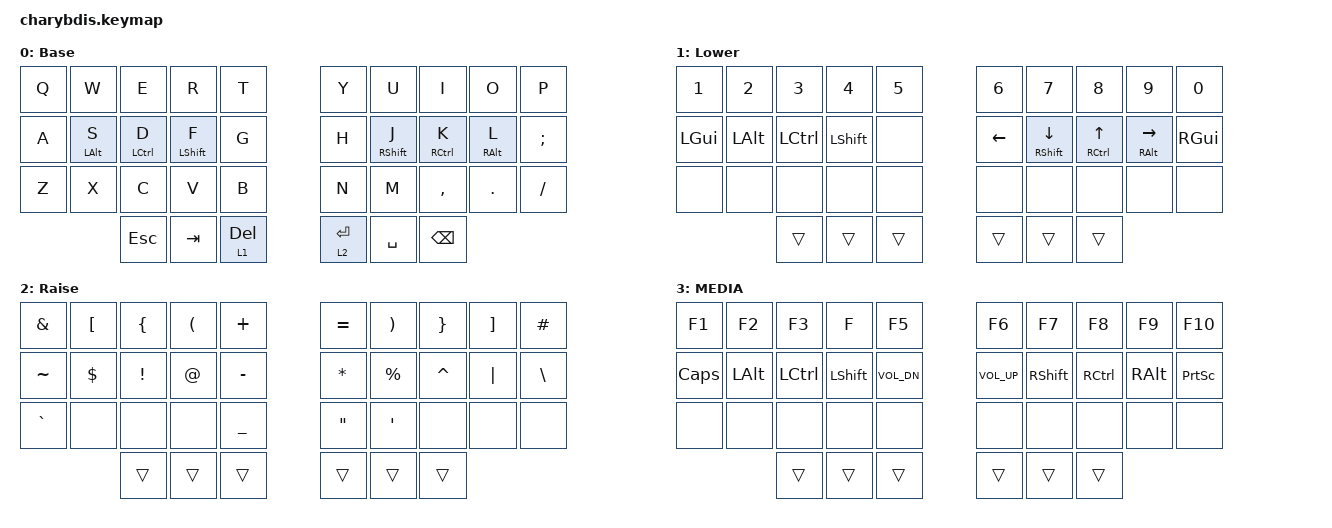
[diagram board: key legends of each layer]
#include <behaviors.dtsi>
#include <dt-bindings/zmk/keys.h>
#include <dt-bindings/zmk/bt.h>
#include <dt-bindings/zmk/outputs.h>
#include <dt-bindings/zmk/keys.h>

&lt {
    tapping-term-ms = <240>;
    flavor = "balanced";
    quick-tap-ms = <150>;
};


/ {
    behaviors {
            mt_impl: mod-tap-by-hold-tap {
                compatible = "zmk,behavior-hold-tap";
                label = "MOD_TAP_BY_HOLD_TAP";
                #binding-cells = <2>;
                tapping-term-ms = <200>;
                quick-tap-ms = <0>;
                flavor = "hold-preferred";
                bindings = <&kp>, <&kp>;
            };
    };

    conditional_layers {
            compatible = "zmk,conditional-layers";
            tri_layer {
                if-layers = <1 2>;
                then-layer = <3>;
            };
    };

    keymap {
        compatible = "zmk,keymap";

        Base {
            label = "Base";
            bindings = <
    &kp Q  &kp W          &kp E         &kp R         &kp T        &kp Y      &kp U          &kp I          &kp O       &kp P
    &kp A  &mt LALT S     &mt LCTRL D   &mt LSHFT F   &kp G        &kp H      &mt RSHFT J    &mt RCTRL K    &mt RALT L  &kp SEMI
    &kp Z  &kp X          &kp C         &kp V         &kp B        &kp N      &kp M          &kp COMMA      &kp DOT     &kp FSLH
                          &kp ESC       &kp TAB       &lt 1 DEL    &lt 2 RET  &kp SPACE      &kp BSPC
            >;
        };

        Lower {
            label = "Lower";
            bindings = <
    &kp N1    &kp N2     &kp N3      &kp N4     &kp N5      &kp N6     &kp N7          &kp N8          &kp N9            &kp N0 
    &kp LGUI  &kp LALT   &kp LCTRL   &kp LSHFT  &none       &kp LEFT   &mt RSHFT DOWN  &mt RCTRL UP    &mt RALT RIGHT    &kp RGUI
    &none     &none      &none       &none      &none       &none      &none           &none           &none             &none
                         &trans      &trans     &trans      &trans     &trans          &trans
            >;
        };

        Raise {
            label = "Raise";
            bindings = <
    &kp AMPS       &kp LBKT    &kp LBRC   &kp LPAR     &kp PLUS    &kp EQUAL   &kp RPAR    &kp RBRC  &kp RBKT  &kp HASH
    &kp TILDE      &kp DLLR    &kp EXCL   &kp AT       &kp MINUS   &kp STAR    &kp PRCNT   &kp CARET &kp PIPE  &kp BSLH
    &kp GRAVE      &none       &none     &none        &kp UNDER    &kp DQT     &kp APOS    &none     &none     &none
                               &trans    &trans       &trans       &trans      &trans      &trans
            >;
        };

        MEDIA {
            label = "MEDIA";
            bindings = <
    &kp F1       &kp F2      &kp F3      &kp F     &kp F5        &kp F6          &kp F7      &kp F8       &kp F9     &kp F10
    &kp CAPS     &kp LALT    &kp LCTRL   &kp LSHFT &kp C_VOL_DN  &kp C_VOL_UP    &kp RSHFT   &kp RCTRL    &kp RALT   &kp PSCRN
    &none        &none       &none       &none     &none         &none           &none       &none        &none      &none
                             &trans      &trans    &trans        &trans          &trans      &trans
            >;
        };
    };
};
